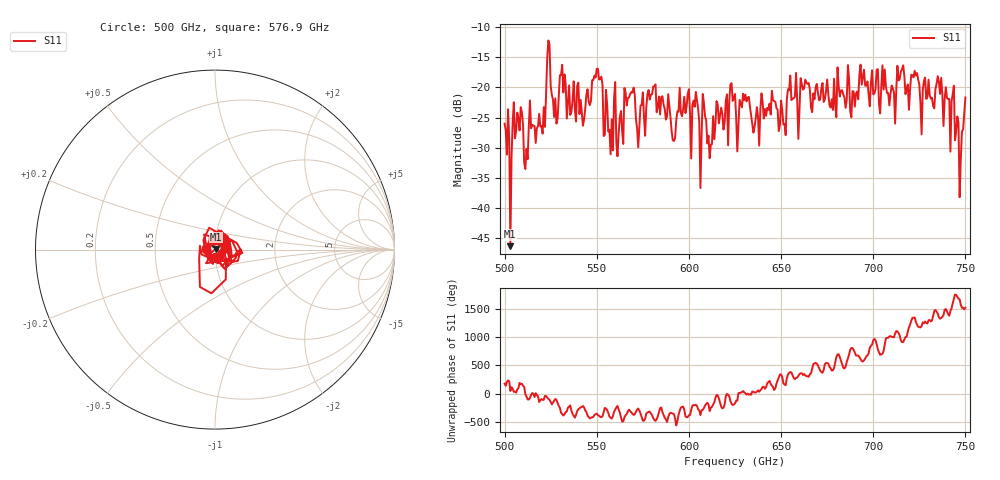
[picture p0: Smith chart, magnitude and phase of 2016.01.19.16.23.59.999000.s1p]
!Created with skrf (http://scikit-rf.org).
# GHz S RI R 50.0
!freq ReS11 ImS11
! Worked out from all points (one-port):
!   401 points, 500 GHz to 750 GHz, reference 50 ohm
!   lowest |S11| = -46.3 dB at 503.1 GHz (marker M1), VSWR 1.01, Z = 50.3 + j0.35 ohm
!   |S11| at or under -10 dB: start of sweep to end of sweep
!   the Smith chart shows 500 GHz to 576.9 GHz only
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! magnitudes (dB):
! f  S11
! 500 GHz  -26.0
! 503.1 GHz  -46.3
! 508.1 GHz  -27.1
! 511.2 GHz  -33.5
! 514.4 GHz  -26.8
! 520.6 GHz  -27.7
! 523.8 GHz  -12.2
! 527.5 GHz  -21.8
! 531.2 GHz  -16.3
! 541.9 GHz  -24.1
! 551.2 GHz  -18.7
! 557.5 GHz  -31.1
! 562.5 GHz  -25.0
! 569.4 GHz  -20.9
! 572.5 GHz  -29.9
! 580.6 GHz  -19.9
! 591.2 GHz  -28.8
! 593.8 GHz  -24.0
! 603.8 GHz  -20.8
! 611.2 GHz  -31.7
! 623.1 GHz  -19.3
! 625 GHz  -21.1
! 656.2 GHz  -21.9
! 687.5 GHz  -24.0
! 718.8 GHz  -19.5
! 735.6 GHz  -19.1
! 747.5 GHz  -31.9
! 750 GHz  -21.7
